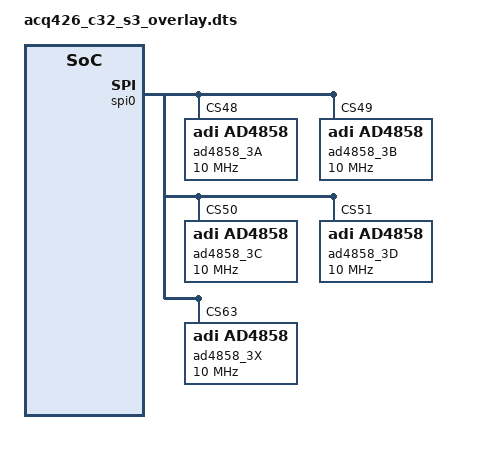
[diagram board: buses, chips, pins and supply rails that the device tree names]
// SPDX-License-Identifier: GPL-2.0
/dts-v1/;
/plugin/;	/* allow undefined label references and record them */

/ {
	fragment@0 {
		target = <&spi0>;
		__overlay__ {
			#address-cells = <1>;
			#size-cells = <0>;			
			status = "okay";

			ad4858_3A: adc@30{		
/*                
                refin-supply = <&refin>;
                clocks = <&ref_clk>;
                clock-names = "scki";
                dmas = <&rx_dma 0>;
                dma-names = "rx";
                pwms = <&axi_pwm_gen 0 0>;
                pwm-names = "cnv";
*/
				reg = <0x30>;
				spi-max-frequency = <10000000>;
				compatible = "adi,ad4858";
			};
			ad4858_3B: adc@31{
				reg = <0x31>;

				spi-max-frequency = <10000000>;
				compatible = "adi,ad4858";
			};
			ad4858_3C: adc@32{
				reg = <0x32>;

				spi-max-frequency = <10000000>;
				compatible = "adi,ad4858";
			};
			ad4858_3D: adc@33{
				reg = <0x33>;

				spi-max-frequency = <10000000>;
				compatible = "adi,ad4858";
			};			
			ad4858_3X: adc@3f{
				reg = <0x3F>;

				spi-max-frequency = <10000000>;
				compatible = "adi,ad4858";
			};
		};
	};
};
